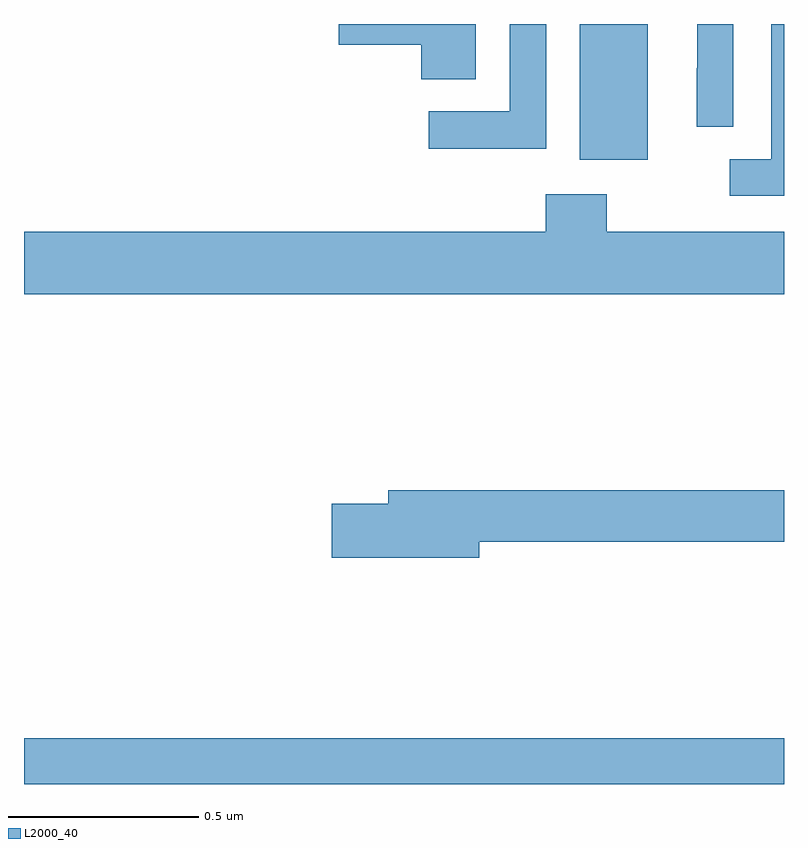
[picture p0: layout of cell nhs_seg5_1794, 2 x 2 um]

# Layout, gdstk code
import gdstk
lib = gdstk.Library(unit=1e-6, precision=1e-09)
def R(c, l, rs):  # rectangles x0, y0, x1, y1
    for r in rs: c.add(gdstk.rectangle(r[:2], r[2:], *l))
def P(c, l, *ps):  # polygons
    for p in ps: c.add(gdstk.Polygon(p, *l))
L2000_40 = (2000, 40)

nhs_seg5_1794 = lib.new_cell('nhs_seg5_1794')
R(nhs_seg5_1794, L2000_40, [(135,860.799,137,860.92), (136.463,862.442,136.642,862.799)])
P(nhs_seg5_1794, L2000_40, [(136.374,862.799),(136.278,862.799),(136.278,862.569),(136.065,862.569),(136.065,862.471),(136.374,862.471)],
  [(136.866,862.799),(136.772,862.799),(136.772,862.682),(136.77,862.682),(136.77,862.528),(136.866,862.528)],
  [(137,862.799),(136.967,862.799),(136.967,862.443),(136.857,862.443),(136.857,862.347),(137,862.347)],
  [(136.189,862.799),(135.828,862.799),(135.828,862.745),(136.046,862.745),(136.046,862.654),(136.189,862.654)],
  [(137,862.252),(136.533,862.252),(136.533,862.351),(136.373,862.351),(136.373,862.252),(135,862.252),(135,862.088),(137,862.088)],
  [(136.198,861.436),(137,861.436),(137,861.572),(135.959,861.572),(135.959,861.536),(135.81,861.536),(135.81,861.394),(136.198,861.394)])

lib.write_gds('nhs_seg5_1794.gds')
